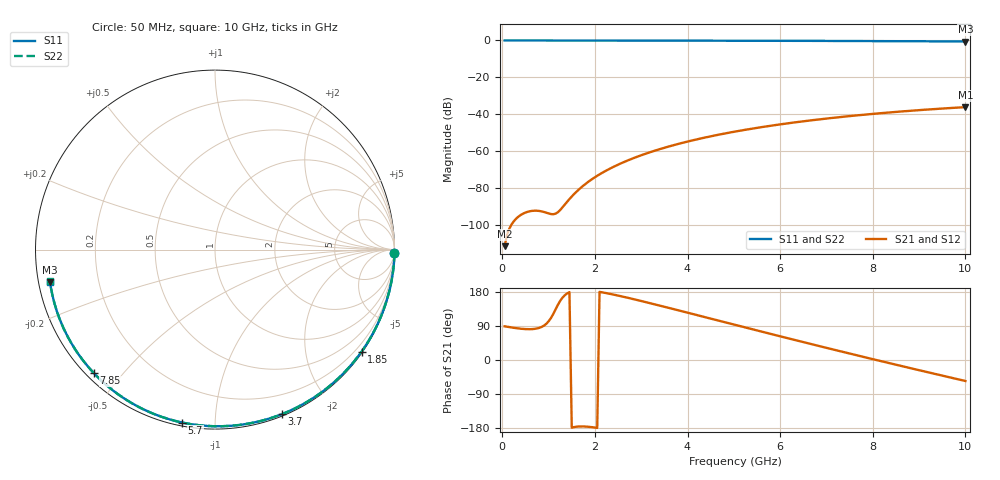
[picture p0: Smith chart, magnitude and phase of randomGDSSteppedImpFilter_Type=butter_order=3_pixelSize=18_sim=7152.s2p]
! freq	dB(S11)	phase(S11)	dB(S12)	phase(S12)
!  dB(S21)	phase(S21)	dB(S22)	phase(S22)
!S-par simulation data
#  GHz  S  DB  R 50
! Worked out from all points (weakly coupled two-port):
!   200 points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, 50 MHz to 10 GHz, reference 50 ohm
!   highest |S21| = -36.19 dB at 10 GHz (marker M1); lowest = -111.6 dB at 50 MHz (marker M2)
!   lowest |S11| = -0.6 dB at 10 GHz (marker M3), VSWR 30.61, Z = 1.65 - j4.86 ohm
!   |S11| at or under -10 dB: nowhere
!   |S22| runs from -0.6 to 0.0 dB; largest |S21 - S12| = 0
!   S11 on the Smith chart (normalised r, x): 50 MHz: open; 1.85 GHz: 0.03, -3.19; 3.7 GHz: 0.02, -1.49; 5.7 GHz: 0.02, -0.83; 7.85 GHz: 0.02, -0.42; 10 GHz: 0.03, -0.10
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0.05  -0.00 -1.0  -111.65 88.9  -111.65 88.9  -0.00 -1.0
0.45  -0.01 -8.6  -93.97 82.0  -93.97 82.0  -0.01 -8.6
0.85  -0.02 -16.2  -92.77 87.3  -92.77 87.3  -0.02 -16.2
1.65  -0.04 -31.1  -80.95 -175.5  -80.95 -175.5  -0.04 -31.2
1.7  -0.04 -32.1  -79.84 -175.3  -79.84 -175.3  -0.04 -32.1
1.75  -0.04 -33.0  -78.79 -175.3  -78.79 -175.3  -0.04 -33.0
1.85  -0.04 -34.8  -76.84 -176.1  -76.84 -176.1  -0.04 -34.9
2.15  -0.05 -40.3  -71.94 178.7  -71.94 178.7  -0.05 -40.4
2.5  -0.06 -46.7  -67.41 170.0  -67.41 170.0  -0.06 -46.7
2.9  -0.07 -53.8  -63.23 158.7  -63.23 158.7  -0.07 -53.9
3.4  -0.08 -62.6  -58.98 143.6  -58.98 143.6  -0.08 -62.7
3.7  -0.09 -67.8  -56.82 134.3  -56.82 134.3  -0.09 -67.9
4.35  -0.11 -78.8  -52.83 114.0  -52.83 114.0  -0.11 -78.9
5.05  -0.14 -90.3  -49.35 92.0  -49.35 92.0  -0.14 -90.4
5.7  -0.17 -100.8  -46.65 71.8  -46.65 71.8  -0.17 -100.9
6.2  -0.20 -108.7  -44.86 56.4  -44.86 56.4  -0.20 -108.9
6.7  -0.23 -116.5  -43.26 41.1  -43.26 41.1  -0.23 -116.7
7.25  -0.27 -125.1  -41.70 24.5  -41.70 24.5  -0.27 -125.3
7.85  -0.32 -134.4  -40.20 6.6  -40.20 6.6  -0.32 -134.6
8.35  -0.37 -142.2  -39.09 -8.1  -39.09 -8.1  -0.37 -142.4
9.2  -0.46 -155.7  -37.46 -32.7  -37.46 -32.7  -0.46 -155.9
10  -0.57 -168.9  -36.19 -55.4  -36.19 -55.4  -0.57 -169.2
